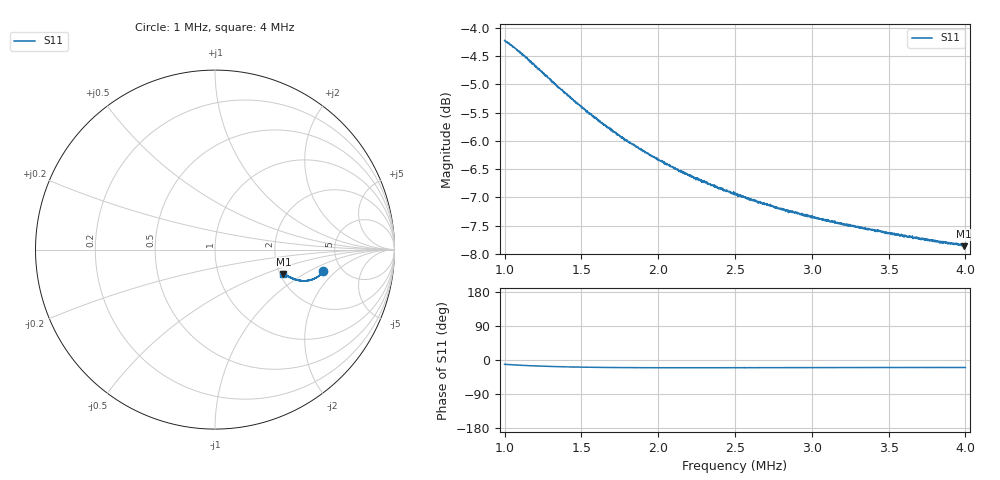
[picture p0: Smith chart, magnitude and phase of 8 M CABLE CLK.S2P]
!Keysight Technologies,E5063A,MY54504603,A.05.08
!Date: Thu Nov 19 06:40:03 2026
!Data & Calibration Information:
!Freq	S11:NONE(--)	S21:NONE(--)	S12:NONE(--)	S22:NONE(--)
# Hz S dB R 50
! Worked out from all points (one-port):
!   2000 points, 1 MHz to 4 MHz, reference 50 ohm
!   lowest |S11| = -7.9 dB at 3.992 MHz (marker M1), VSWR 2.36, Z = 104 - j33.9 ohm
!   |S11| at or under -10 dB: nowhere
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1000000  -4.22 -11.4  -200.00 0.0  -200.00 0.0  -200.00 0.0
1031516  -4.28 -12.2  -200.00 0.0  -200.00 0.0  -200.00 0.0
1106553  -4.45 -14.0  -200.00 0.0  -200.00 0.0  -200.00 0.0
1198099  -4.68 -15.6  -200.00 0.0  -200.00 0.0  -200.00 0.0
1282141  -4.88 -16.9  -200.00 0.0  -200.00 0.0  -200.00 0.0
1346673  -5.05 -17.6  -200.00 0.0  -200.00 0.0  -200.00 0.0
1412706  -5.19 -18.1  -200.00 0.0  -200.00 0.0  -200.00 0.0
1501251  -5.39 -18.9  -200.00 0.0  -200.00 0.0  -200.00 0.0
1618309  -5.64 -19.5  -200.00 0.0  -200.00 0.0  -200.00 0.0
1775888  -5.97 -20.0  -200.00 0.0  -200.00 0.0  -200.00 0.0
1903452  -6.18 -20.3  -200.00 0.0  -200.00 0.0  -200.00 0.0
2001000  -6.33 -20.4  -200.00 0.0  -200.00 0.0  -200.00 0.0
2239620  -6.66 -20.4  -200.00 0.0  -200.00 0.0  -200.00 0.0
2428714  -6.87 -20.2  -200.00 0.0  -200.00 0.0  -200.00 0.0
2500750  -6.93 -20.3  -200.00 0.0  -200.00 0.0  -200.00 0.0
2773887  -7.17 -20.1  -200.00 0.0  -200.00 0.0  -200.00 0.0
3000500  -7.32 -20.1  -200.00 0.0  -200.00 0.0  -200.00 0.0
3209105  -7.47 -20.0  -200.00 0.0  -200.00 0.0  -200.00 0.0
3500250  -7.64 -19.7  -200.00 0.0  -200.00 0.0  -200.00 0.0
3840920  -7.78 -19.7  -200.00 0.0  -200.00 0.0  -200.00 0.0
3992496  -7.86 -19.7  -200.00 0.0  -200.00 0.0  -200.00 0.0
4000000  -7.85 -19.8  -200.00 0.0  -200.00 0.0  -200.00 0.0
